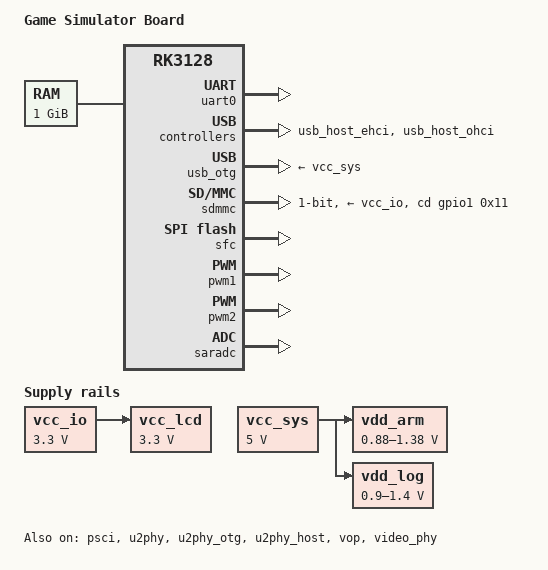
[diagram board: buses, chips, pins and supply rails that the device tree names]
/*
 * (C) Copyright 2017 Rockchip Electronics Co., Ltd
 *
 * SPDX-License-Identifier:     GPL-2.0+
 */

/dts-v1/;

#include "rk3128.dtsi"

/ {
	model = "Game Simulator Board";
	compatible = "rockchip,rk3128-gamesim", "rockchip,rk3128";

	chosen {
		stdout-path = &uart0;
	};

	memory {
		device_type = "memory";
		reg = <0x60000000 0x40000000>;
	};

	config {
		pinctrl-names = "default";
		pinctrl-0 = <&select_key &pm_enable>;

		download,gpio = <&gpio3 RK_PC6 GPIO_ACTIVE_HIGH>;
		pm-enable,gpio = <&gpio2 RK_PD5 GPIO_ACTIVE_HIGH>;
	};

	vcc_io: vcc-io {
		compatible = "regulator-fixed";
		regulator-name = "vcc_io";
		regulator-min-microvolt = <3300000>;
		regulator-max-microvolt = <3300000>;
		regulator-always-on;
		regulator-boot-on;
	};

	vcc_sys: vcc-sys {
		compatible = "regulator-fixed";
		regulator-name = "vcc_sys";
		regulator-always-on;
		regulator-boot-on;
		regulator-min-microvolt = <5000000>;
		regulator-max-microvolt = <5000000>;
	};

	vcc_lcd: vcc-lcd {
		compatible = "regulator-fixed";
		regulator-name = "vcc_lcd";
		regulator-always-on;
		regulator-boot-on;
		regulator-min-microvolt = <3300000>;
		regulator-max-microvolt = <3300000>;
		vin-supply = <&vcc_io>;
	};

	vdd_arm: vdd-arm {
		compatible = "pwm-regulator";
		pwms = <&pwm1 0 5000 0>;
		regulator-name = "vdd_arm";
		regulator-min-microvolt = <880000>;
		regulator-max-microvolt = <1380000>;
		regulator-init-microvolt = <1100000>;
		regulator-early-min-microvolt = <1100000>;
		regulator-always-on;
		regulator-boot-on;
		pwm-supply = <&vcc_sys>;
		pwm-dutycycle-range = <100 0>;
		pwm-dutycycle-unit = <100>;
	};

	vdd_log: vdd-log {
		compatible = "pwm-regulator";
		pwms = <&pwm2 0 5000 0>;
		regulator-name = "vdd_log";
		regulator-min-microvolt = <900000>;
		regulator-max-microvolt = <1400000>;
		regulator-init-microvolt = <1100000>;
		regulator-early-min-microvolt = <1100000>;
		regulator-always-on;
		regulator-boot-on;
		pwm-supply = <&vcc_sys>;
		pwm-dutycycle-range = <100 0>;
		pwm-dutycycle-unit = <100>;
	};
};

&cpu0 {
	cpu-supply = <&vdd_arm>;
};

&uart0 {
	u-boot,dm-pre-reloc;
	status = "okay";
};

&psci {
	status = "okay";
};

&u2phy {
	status = "okay";
};

&u2phy_otg {
	status = "okay";
};

&u2phy_host {
	status = "okay";
};

&usb_host_ehci {
	status = "okay";
};

&usb_host_ohci {
	status = "okay";
};

&usb_otg {
	status = "okay";
	vbus-supply = <&vcc_sys>;
};

&sdmmc {
	u-boot,dm-pre-reloc;
	status = "okay";

	supports-highspeed;
	supports-sd;
	broken-cd;

	card-detect-delay = <200>;
	ignore-pm-notify;
	keep-power-in-suspend;
	vmmc-supply = <&vcc_io>;

	cd-gpios = <&gpio1 0x11 0x00>;

	cap-mmc-highspeed;
	cap-sd-highspeed;

	max-frequency = <37500000>;
	num-slots = <1>;

	bus-width = <1>;
};

&sfc {
	u-boot,dm-pre-reloc;
	status = "okay";
};

&vop {
	status = "okay";
};

&video_phy {
	status = "okay";
};

&pwm1 {
	status = "okay";
};

&pwm2 {
	status = "okay";
};

&saradc {
	status = "okay";
};

&psci {
	status = "okay";
};

&dmc {
	center-supply = <&vdd_log>;
	u-boot,dm-pre-reloc;
};

&grf {
	u-boot,dm-pre-reloc;
};

&cru {
	u-boot,dm-pre-reloc;
};

&pinctrl {
	lcd_enable: lcd-enable {
		rockchip,pins = <RK_GPIO1 RK_PB4 RK_FUNC_0 &pcfg_pull_none>;
	};

	lcd_reset: lcd-reset {
		rockchip,pins = <RK_GPIO0 RK_PD0 RK_FUNC_0 &pcfg_pull_none>;
	};

	select_key: select-key {
		rockchip,pins = <RK_GPIO3 RK_PC6 RK_FUNC_0 &pcfg_pull_default>;
	};

	pm_enable: pm-enable {
		rockchip,pins = <RK_GPIO2 RK_PD5 RK_FUNC_0 &pcfg_pull_default>;
	};
};
